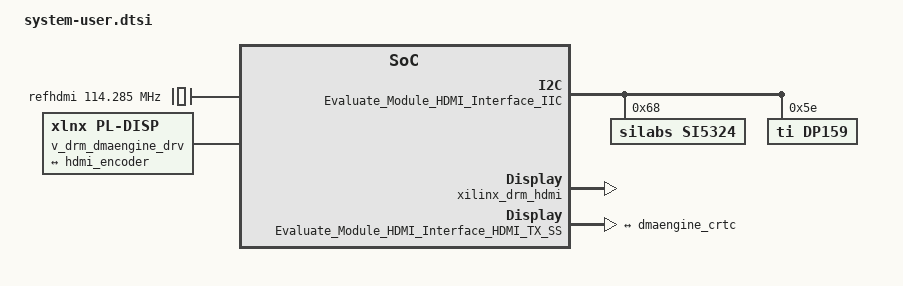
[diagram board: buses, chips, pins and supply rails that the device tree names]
/include/ "system-conf.dtsi"
/ {
	chosen {
		//bootargs = " earlycon clk_ignore_unused uio_pdrv_genirq.of_id=generic-uio earlyprintk root=/dev/mmcblk0p2 rw rootwait cma=1024M rootfstype=ext4 devtmpfs.mount=0";
		bootargs = "earlycon clk_ignore_unused uio_pdrv_genirq.of_id=generic-uio earlyprintk root=/dev/sda1 rw rootwait cma=1024M rootfstype=ext4 devtmpfs.mount=0 video=HDMI-A-1:1920x1080@60";
		//bootargs = " earlycon clk_ignore_unused uio_pdrv_genirq.of_id=generic-uio earlyprintk root=/dev/sda1 rw rootwait cma=1024M rootfstype=ext4 devtmpfs.mount=0";
	};
};

&sdhci1 {
	//no-1-8-v;
	disable-wp;
};

&amba_pl {
	/* 114.285MHz reference crystal (X9 on ZCU102) for Si5324 clock for HDMI */
	refhdmi: refhdmi {
		compatible = "fixed-clock";
		#clock-cells = <0>;
		clock-frequency = <114285000>;
	};

	Evaluate_Module_HDMI_Interface_IIC: i2c@a0060000 {
		status = "okay";
		
		//* Si5324 i2c clock generator */
		si5324: clock-generator@68 {
			status = "okay";
			compatible = "silabs,si5324";
			reg = <0x68>;
			#address-cells = <1>;
			#size-cells = <0>;
			#clock-cells = <1>;
			
			/* input clock(s); the XTAL is hard-wired on the ZCU102 board */
			clocks = <&refhdmi>;
			clock-names = "xtal";
			
			/* output clocks */
			clk0 {
				reg = <0>;
				/* HDMI TX reference clock output frequency */
				clock-frequency = <27000000>;
			};
		};//* Si5324 i2c clock generator */
		
		/* DP159 exposes a virtual CCF clock. Upon .set_rate(), it adapts its retiming/driving behaviour */
		dp159: hdmi-retimer@5e {
			status = "okay";
			compatible = "ti,dp159";
			reg = <0x5e>;
			#address-cells = <1>;
			#size-cells = <0>;
			#clock-cells = <0>;
		};
	};
	v_drm_dmaengine_drv: drm-dmaengine-drv {
	//v_pl_disp: drm-pl-disp-drv {
		compatible = "xlnx,pl-disp";
		dmas = <&Evaluate_Module_DMA_Interface_VDMA_TXBUF 0>;
		dma-names = "dma0";
		xlnx,vformat = "BG24";
		#address-cells = <1>;
		#size-cells = <0>;
		//xlnx,bridge = <&Evaluate_Module_DMA_Interface_VDMA_TXBUF>;
		//xlnx,disp-bridge = <&&Evaluate_Module_DMA_Interface_VDMA_TXBUF>;
		//xlnx,bridge = <&Evaluate_Module_DMA_Interface_VTC>;
		dmaengine_port: port@0 {
			reg = <0>;
			dmaengine_crtc: endpoint {
				remote-endpoint = <&hdmi_encoder>;
			};
		};
	};

	xilinx_drm_hdmi: xilinx_drm {
		compatible = "xlnx,drm";
		xlnx,encoder-slave = <&Evaluate_Module_HDMI_Interface_HDMI_TX_SS>;
		xlnx,connector-type = "HDMIA";
		//xlnx,vtc = <&Evaluate_Module_DMA_Interface_VTC>;
		status = "okay";
		//clocks = <&misc_clk_2>;
		clocks = <&si570_2>;
		planes {
			xlnx,pixel-format = "rgb888";
			plane0 {
				dma = <&Evaluate_Module_DMA_Interface_VDMA_TXBUF 0>;
				dma-names = "dma0";
			};
		};
	};

	reserved-memory {
		#address-cells = <1>;
		#size-cells = <1>;
		ranges;
		reserved_0: buffer@0x0a000000 {
			no-map;
			reg = <0x0a000000 0x1000000>;
		};
		reserved_1: buffer@0x0b000000 {
			no-map;
			reg = <0x0b000000 0x1000000>;
		};
	};
	
	reserved-driver@0 {
		compatible = "xlnx,reserved-memory";
		memory-region = <&reserved_0>;
	};
	
	reserved-driver@1 {
		compatible = "xlnx,reserved-memory";
		memory-region = <&reserved_1>;
	};


	//vcap_hdmi {
	//	status = "okay";
	//	compatible = "xlnx,video";
	//	dmas = <&Evaluate_Module_DMA_Interface_VDMA_RXBUF 0>;
	//	dma-names = "port0";
	//	ports {
	//		#address-cells = <1>;
	//		#size-cells = <0>;
	//		port@0 {
	//			reg = <0>;
	//			direction = "output";
	//			Evaluate_Module_DMA_Interface_VDMA_RXBUFEvaluate_Module_HDMI_Interface_HDMI_RX_SS: endpoint {
	//				remote-endpoint = <&Evaluate_Module_DMA_Interface_VDMA_RXBUFEvaluate_Module_HDMI_Interface_HDMI_RX_SS>;
	//			};
	//		};
	//	};
	//};
};

/* IIC controller with Si5324 clock generator and DP159 retimer for HDMI TX */

&Evaluate_Module_HDMI_Interface_VID_PHY_CTRL {
	clock-names = "mgtrefclk0_pad_p_in", "mgtrefclk0_pad_n_in", "mgtrefclk1_pad_p_in", "mgtrefclk1_pad_n_in", "gtsouthrefclk0_in", "gtsouthrefclk0_odiv2_in", "vid_phy_tx_axi4s_aclk", "vid_phy_rx_axi4s_aclk", "vid_phy_sb_aclk", "vid_phy_axi4lite_aclk", "drpclk", "dru-clk";
	clocks = <&misc_clk_0>, <&misc_clk_0>, <&misc_clk_0>, <&misc_clk_0>, <&misc_clk_0>, <&misc_clk_0>, <&misc_clk_3>, <&misc_clk_3>, <&misc_clk_0>, <&misc_clk_0>, <&misc_clk_0>, <&si570_2>;
};

&Evaluate_Module_HDMI_Interface_HDMI_RX_SS {
	clock-names = "s_axi_cpu_aclk", "link_clk", "s_axis_audio_aclk", "video_clk", "s_axis_video_aclk";
	clocks = <&misc_clk_0>, <&misc_clk_3>, <&misc_clk_1>, <&misc_clk_4>, <&misc_clk_1>;
};

&Evaluate_Module_HDMI_Interface_HDMI_TX_SS {
	clock-names = "s_axi_cpu_aclk", "link_clk", "s_axis_audio_aclk", "video_clk", "s_axis_video_aclk", "txref-clk", "retimer-clk";
	clocks = <&misc_clk_0>, <&misc_clk_3>, <&misc_clk_1>, <&misc_clk_4>, <&misc_clk_1>, <&si5324 0>, <&dp159>;
	hdmitx_portsEvaluate_Module_HDMI_Interface_HDMI_TX_SS: ports {
		#address-cells = <1>;
		#size-cells = <0>;
		encoder_hdmi_portEvaluate_Module_HDMI_Interface_HDMI_TX_SS: port@0 {
			reg = <0>;
			hdmi_encoder: endpoint {
				remote-endpoint = <&dmaengine_crtc>;
			};
		};
	};
};

&Evaluate_Module_DMA_Interface_VDMA_RXBUF {
	ports {
		#address-cells = <1>;
		#size-cells = <0>;
		port@0 {
			reg = <0>;
			Evaluate_Module_DMA_Interface_VDMA_RXBUFEvaluate_Module_HDMI_Interface_HDMI_RX_SS: endpoint {
				remote-endpoint = <&Evaluate_Module_DMA_Interface_VDMA_RXBUFEvaluate_Module_HDMI_Interface_HDMI_RX_SS>;
			};
		};
	};
};

//&Evaluate_Module_DMA_Interface_VDMA_TXBUF {
//	ports {
//		#address-cells = <1>;
//		#size-cells = <0>;
//		port@0{
//			reg = <0>;
//			VDMA_TXBUF_MM2S: endpoint {
//				remote-endpoint = <&video1>;
//			};
//		};
//	};
//};


//&Evaluate_Module_DMA_Interface_VTC {
//	compatible = "xlnx,bridge-v-tc-6.1";
//	xlnx,pixels-per-clock = <1>;
//};

&Evaluate_Module_USERSPACE_IO {
	compatible = "generic-uio";
};
